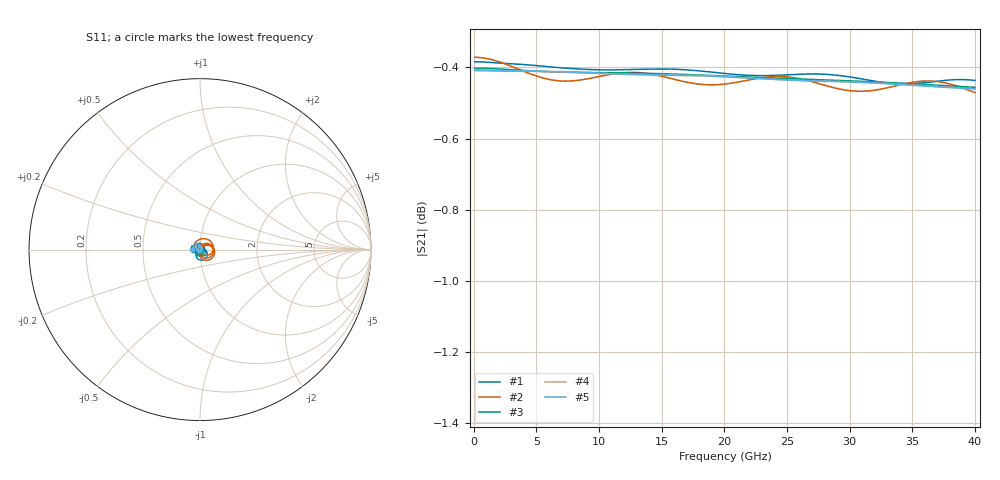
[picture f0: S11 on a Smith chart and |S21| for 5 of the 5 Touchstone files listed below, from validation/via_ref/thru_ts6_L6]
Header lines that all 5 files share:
! thru_ts6_L6: 2×thru, L6, 8 mm
! stackup: ThunderScope Rev5.3 6-layer (FR408HR / FR-4, from the board file)
! ports: 1, 2
# Hz S RI R 50
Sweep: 100 MHz to 40 GHz
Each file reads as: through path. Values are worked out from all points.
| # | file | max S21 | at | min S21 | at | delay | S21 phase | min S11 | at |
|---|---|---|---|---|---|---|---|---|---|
| 1 | cst.s2p | -0.38 dB | 200 MHz | -0.4 dB | 34.3 GHz | 43.1 ps | 49 deg at 20.1 GHz | -55.1 dB | 39.2 GHz |
| 2 | cst_fine.s2p | -0.37 dB | 200 MHz | -0.5 dB | 40 GHz | 43.4 ps | 47 deg at 20.1 GHz | -60.0 dB | 24.3 GHz |
| 3 | kisi.s2p | -0.40 dB | 100 MHz | -0.5 dB | 40 GHz | 43.7 ps | 45 deg at 20.1 GHz | -47.7 dB | 29.2 GHz |
| 4 | openems.s2p | -0.41 dB | 100 MHz | -0.5 dB | 40 GHz | 43.7 ps | 45 deg at 20.1 GHz | -69.3 dB | 11.4 GHz |
| 5 | openems_base.s2p | -0.41 dB | 100 MHz | -0.5 dB | 40 GHz | 43.7 ps | 45 deg at 20.1 GHz | -56.0 dB | 11.3 GHz |
